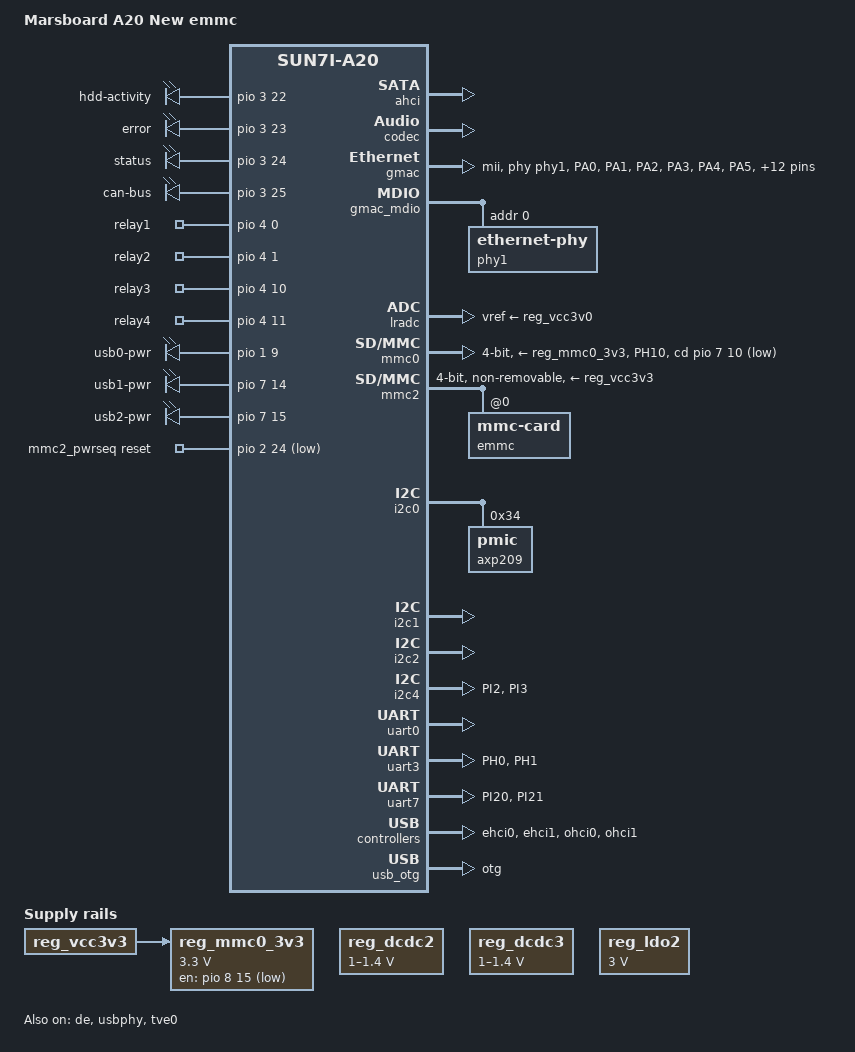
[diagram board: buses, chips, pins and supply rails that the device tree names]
/*
 * Copyright 2014 Hans de Goede <hdegoede@redhat.com>
 *
 * Hans de Goede <hdegoede@redhat.com>
 *
 * This file is dual-licensed: you can use it either under the terms
 * of the GPL or the X11 license, at your option. Note that this dual
 * licensing only applies to this file, and not this project as a
 * whole.
 *
 *  a) This file is free software; you can redistribute it and/or
 *     modify it under the terms of the GNU General Public License as
 *     published by the Free Software Foundation; either version 2 of the
 *     License, or (at your option) any later version.
 *
 *     This file is distributed in the hope that it will be useful,
 *     but WITHOUT ANY WARRANTY; without even the implied warranty of
 *     MERCHANTABILITY or FITNESS FOR A PARTICULAR PURPOSE.  See the
 *     GNU General Public License for more details.
 *
 * Or, alternatively,
 *
 *  b) Permission is hereby granted, free of charge, to any person
 *     obtaining a copy of this software and associated documentation
 *     files (the "Software"), to deal in the Software without
 *     restriction, including without limitation the rights to use,
 *     copy, modify, merge, publish, distribute, sublicense, and/or
 *     sell copies of the Software, and to permit persons to whom the
 *     Software is furnished to do so, subject to the following
 *     conditions:
 *
 *     The above copyright notice and this permission notice shall be
 *     included in all copies or substantial portions of the Software.
 *
 *     THE SOFTWARE IS PROVIDED "AS IS", WITHOUT WARRANTY OF ANY KIND,
 *     EXPRESS OR IMPLIED, INCLUDING BUT NOT LIMITED TO THE WARRANTIES
 *     OF MERCHANTABILITY, FITNESS FOR A PARTICULAR PURPOSE AND
 *     NONINFRINGEMENT. IN NO EVENT SHALL THE AUTHORS OR COPYRIGHT
 *     HOLDERS BE LIABLE FOR ANY CLAIM, DAMAGES OR OTHER LIABILITY,
 *     WHETHER IN AN ACTION OF CONTRACT, TORT OR OTHERWISE, ARISING
 *     FROM, OUT OF OR IN CONNECTION WITH THE SOFTWARE OR THE USE OR
 *     OTHER DEALINGS IN THE SOFTWARE.
 */

/dts-v1/;
#include "sun7i-a20-work.dtsi"
#include "sunxi-common-regulators.dtsi"

#include <dt-bindings/gpio/gpio.h>
#include <dt-bindings/input/input.h>
#include <dt-bindings/interrupt-controller/irq.h>

/ {
	model = "Marsboard A20 New emmc";
	compatible = "haoyu,a20-marsboard-new-emmc", "allwinner,sun7i-a20";

	aliases {
		i2c4 = "/soc@01c00000/i2c@01c2c000";
		serial3 = "/soc@01c00000/serial@01c28c00";
		serial7 = "/soc@01c00000/serial@01c29c00";

		serial0 = &uart0;
		serial1 = &uart3;
		serial2 = &uart7;
	};

	chosen {
		stdout-path = "serial0:115200n8";		
	};

/*	tv: connector {
		compatible = "composite-video-connector";
		label = "tv";

		port {
			tv_connector_in: endpoint {
				remote-endpoint = <&tve0_out_con>;
			};
		};
	};
*/


	tve0: tv-encoder@1c0a000 {
		compatible = "allwinner,sun4i-a10-tv-encoder";
		reg = <0x01c0a000 0x1000>;
		clocks = <&ccu CLK_AHB_TVE0>, <&ccu CLK_DRAM_TVE0>;
		clock-names = "ahb", "ram";
		resets = <&ccu RST_TVE0>;
		status = "okay";
		port {
			#address-cells = <1>;
			#size-cells = <0>;
			
			hdmi_in_tcon0: endpoint@0 {
				reg = <0>;
				remote-endpoint = <&tcon0_out_hdmi>;
			};
			hdmi_in_tcon1: endpoint@1 {
				reg = <1>;
				remote-endpoint = <&tcon1_out_hdmi>;
			};
		};
	};

/*	tve1: tv-encoder@1c1b000 {
		compatible = "allwinner,sun4i-a10-tv-encoder";
		reg = <0x01c1b000 0x1000>;
		clocks = <&ccu CLK_AHB_TVE1>, <&ccu CLK_DRAM_TVE1>;
		clock-names = "ahb", "ram";
		resets = <&ccu RST_TVE1>;
		status = "okay";

		port {
			#address-cells = <1>;
			#size-cells = <0>;

			hdmi_in_tcon1: endpoint@0 {
				reg = <0>;
				remote-endpoint = <&tcon1_out_hdmi>;
			};
		};
	};    */

	tvd: tv-decoder@1c08000 {
		compatible = "allwinner,sun4i-a10-tv-decoder";
		reg = <0x01c08000 0x1000>;
		clocks = <&ccu CLK_AHB_TVD>, <&ccu CLK_TVD>,
			<&ccu CLK_TVD_SCLK2>, <&ccu CLK_DRAM_TVD>,
			<&ccu CLK_PLL_VIDEO0>, <&ccu CLK_PLL_VIDEO1>;
		clock-names = "ahb", "sclk1",
			"sclk2", "ram",
			"pll0", "pll1";
		interrupts = <GIC_SPI 61 IRQ_TYPE_LEVEL_HIGH>;
	};


/*
	hdmi-connector {
		compatible = "hdmi-connector";
		type = "a";

		port {
			hdmi_con_in: endpoint {
				remote-endpoint = <&hdmi_out_con>;
			};
		};
	};   */

	leds {
		compatible = "gpio-leds";
		pinctrl-names = "default";
		pinctrl-0 = <&led_pins_vt900v2>;

		hdd {
			label = "hdd-activity";
			gpios = <&pio 3 22 GPIO_ACTIVE_HIGH>; /* PD22 */
			linux,default-trigger = "disk-activity";
		};

		err {
			label = "error";
			gpios = <&pio 3 23 GPIO_ACTIVE_HIGH>; /* PD23 */
		};

		status {
			label = "status";
			gpios = <&pio 3 24 GPIO_ACTIVE_HIGH>; /* PD24 */
			default-state = "on";
			linux,default-trigger = "heartbeat";
		};

		can-bus {
			label = "can-bus";
			gpios = <&pio 3 25 GPIO_ACTIVE_HIGH>; /* PD25 */
		};

		relay1 {
			label = "relay1";
			gpios = <&pio 4 0 GPIO_ACTIVE_HIGH>; /* PE0 */
		};
		relay2 {
			label = "relay2";
			gpios = <&pio 4 1 GPIO_ACTIVE_HIGH>; /* PE1 */
		};
		relay3 {
			label = "relay3";
			gpios = <&pio 4 10 GPIO_ACTIVE_HIGH>; /* PE10 */
		};
		relay4 {
			label = "relay4";
			gpios = <&pio 4 11 GPIO_ACTIVE_HIGH>; /* PE11 */
		};

		usb0-pwr {
			label = "usb0-pwr";  /* usb 0 (OTG) */
			gpios = <&pio 1 9 GPIO_ACTIVE_HIGH>;   /* PB9 */
			default-state = "on";
		};
		usb1-pwr {
			label = "usb1-pwr";  /* usb 1 */
			gpios = <&pio 7 14 GPIO_ACTIVE_HIGH>;   /* PH14 */  
			default-state = "on";
		};
		usb2-pwr {
			label = "usb2-pwr";  /* internal lte modem */
			gpios = <&pio 7 15 GPIO_ACTIVE_HIGH>; /* PH15 */
			default-state = "off";
		};
	};

	reg_mmc0_3v3: mmc0-3v3 {
		status = "okay";
		compatible = "regulator-fixed";
		pinctrl-names = "default";
		pinctrl-0 = <&mmc0_power_pin_vt900v2>;
		regulator-name = "mmc0-3v3-pwr";
		vin-supply = <&reg_vcc3v3>;
		regulator-min-microvolt = <3300000>;
		regulator-max-microvolt = <3300000>;
		startup-delay-us = <100000>;
		regulator-always-on;
		/*regulator-boot-on; */
		gpio = <&pio 8 15 GPIO_ACTIVE_HIGH>; /* PI15 */
	};

	mmc2_pwrseq: mmc2-pwrseq {
		compatible = "mmc-pwrseq-emmc";
		reset-gpios = <&pio 2 24 GPIO_ACTIVE_LOW>;  /* PC24 */
	};
};


&de {
	status = "okay";
	/* allwinner,pipelines = <&fe0>; */
};


/* &hdmi {
	status = "okay";
};
&hdmi_out {
	hdmi_out_con: endpoint {
		remote-endpoint = <&hdmi_con_in>;
	};
};  */



&ahci {
	status = "okay";
};

&codec {
	status = "okay";
};

&cpu0 {
	cpu-supply = <&reg_dcdc2>;
};



&gmac {
	pinctrl-names = "default";
	pinctrl-0 = <&gmac_pins_mii_17>;
	phy-handle = <&phy1>;
	phy-mode = "mii";
	status = "okay";
};

&gmac_mdio {
	phy1: ethernet-phy@0 {
		reg = <0>;
		max-speed = <100>;
	};
};



&lradc {
	vref-supply = <&reg_vcc3v0>;
	status = "okay";

	button-392 {
		label = "Unmount";
		linux,code = <KEY_VOLUMEDOWN>;
		channel = <0>;
		voltage = <392644>;
	};

	button-1184 {
		label = "Recover";
		linux,code = <KEY_ESC>;
		channel = <0>;
		voltage = <1184678>;
	};
};


&mmc0 {
	pinctrl-names = "default";
	pinctrl-0 = <&mmc0_pins>, <&mmc0_cd_pin_bananapi>;
	vmmc-supply = <&reg_mmc0_3v3>;
	bus-width = <4>;
	cd-gpios = <&pio 7 10 GPIO_ACTIVE_HIGH>; /* PH10 */
	cd-inverted;
	no-1-8-v;
	max-frequency = <25000000>;
	status = "okay";
};

&mmc2 {
	vmmc-supply = <&reg_vcc3v3>;
	mmc-pwrseq = <&mmc2_pwrseq>;
	bus-width = <4>;
	non-removable;
	/*max-frequency = <25000000>;*/
	status = "okay";

	emmc: emmc@0 {
		reg = <0>;
		compatible = "mmc-card";
		broken-hpi;
	};
};



&pio {
	vcc-pa-supply = <&reg_vcc3v3>;
	vcc-pb-supply = <&reg_vcc3v3>;
	vcc-pc-supply = <&reg_vcc3v3>;
	vcc-pd-supply = <&reg_vcc3v3>;
	vcc-pe-supply = <&reg_vcc3v3>;
	vcc-pf-supply = <&reg_vcc3v3>;
	vcc-pg-supply = <&reg_vcc3v3>;
	vcc-ph-supply = <&reg_vcc3v3>;
	vcc-pi-supply = <&reg_vcc3v3>;

	i2c4_pins_vt900v2: i2c4@0 {
		allwinner,pins = "PI2", "PI3";
		allwinner,function = "i2c4";
	};
	uart3_pins_vt900v2: uart3@1 {
		allwinner,pins = "PH0", "PH1";
		allwinner,function = "uart3";
	};
	uart7_pins_vt900v2: uart7@0 {
		allwinner,pins = "PI20", "PI21";
		allwinner,function = "uart7";
	};

	led_pins_vt900v2: led_pins@0 {
		allwinner,pins = "PD22", "PD23", "PD24", "PD25",
			"PE0", "PE1", "PE10", "PE11",
			"PB9", "PH14", "PH15";
		/*usb0-PB9, usb1-PH14, usb2-PH15*/
		allwinner,function = "gpio_out";
	};
	
	usb0_id_detect_pin_vt900v2: usb0_id_detect_pin_vt900v2@0 {
		allwinner,pins = "PH11";
		allwinner,function = "gpio_in";
		bias-pull-up;
	};
	usb0_vbus_detect_pin_vt900v2: usb0_vbus_detect_pin_vt900v2@0 {
		allwinner,pins = "PH13";
		allwinner,function = "gpio_in";
		bias-pull-down;
	};

	mmc0_cd_pin_bananapi: mmc0_cd_pin@0 {
		allwinner,pins = "PH10";
		allwinner,function = "gpio_in";
		bias-pull-up;
	};
	mmc0_power_pin_vt900v2: mmc0_power_pin@0 {
		allwinner,pins = "PI15";
		allwinner,function = "gpio_out";
		drive-strength = <20>;
	};

	gmac_pins_mii_17: gmac_mii_17@0 {
		allwinner,pins = "PA0", "PA1", "PA2",
		       "PA3", "PA4", "PA5", "PA6",
		       "PA7", "PA8", "PA9", "PA10",
		       "PA11", "PA12", "PA13", "PA14",
		       "PA15", "PA16", "PA17";
		allwinner,function = "gmac";
	};
};

&i2c0 {
	pinctrl-names = "default";
	pinctrl-0 = <&i2c0_pins>;
	status = "okay";

	axp209: pmic@34 {
		reg = <0x34>;
		interrupt-parent = <&nmi_intc>;
		interrupts = <0 IRQ_TYPE_LEVEL_LOW>;
	};
};

&i2c1 {
	pinctrl-names = "default";
	pinctrl-0 = <&i2c1_pins>;
	status = "okay";
};

&i2c2 {
	status = "okay";
};

&i2c4 {
	pinctrl-names = "default";
	pinctrl-0 = <&i2c4_pins_vt900v2>;
	status = "okay";
};

#include "axp209.dtsi"

&ac_power_supply {
	status = "okay";
};

&reg_dcdc2 {
	regulator-always-on;
	regulator-min-microvolt = <1000000>;
	regulator-max-microvolt = <1400000>;
	regulator-name = "vdd-cpu";
};

&reg_dcdc3 {
	regulator-always-on;
	regulator-min-microvolt = <1000000>;
	regulator-max-microvolt = <1400000>;
	regulator-name = "vdd-int-dll";
};

&reg_ldo1 {
	regulator-name = "vdd-rtc";
};

&reg_ldo2 {
	regulator-always-on;
	regulator-min-microvolt = <3000000>;
	regulator-max-microvolt = <3000000>;
	regulator-name = "avcc";
};

&reg_vcc3v0 {
	status = "okay";
	regulator-always-on;
};

&reg_vcc3v3 {
	status = "okay";
	regulator-always-on;
};
&reg_vcc5v0 {
	status = "okay";
	regulator-always-on;
};


/*
&spi0 {
	pinctrl-names = "default";
	pinctrl-0 = <&spi0_pins_a>,
		    <&spi0_cs0_pins_a>,
		    <&spi0_cs1_pins_a>;
	status = "okay";
};
*/

&uart0 {
	pinctrl-names = "default";
	pinctrl-0 = <&uart0_pb_pins>;
	status = "okay";
};
&uart3 {
	pinctrl-names = "default";
	pinctrl-0 = <&uart3_pins_vt900v2>;
	status = "okay";
};
&uart7 {
	pinctrl-names = "default";
	pinctrl-0 = <&uart7_pins_vt900v2>;
	status = "okay";
};


&ehci0 {
	status = "okay";
};
&ehci1 {
	status = "okay";
};

&ohci0 {
	status = "okay";
};

&ohci1 {
	status = "okay";
};

&otg_sram {
	status = "okay";
};
&usb_otg {
	dr_mode = "otg"; /*peripheral|otg|host*/
	status = "okay";
};


&usbphy {
	pinctrl-names = "default";
	pinctrl-0 = <&usb0_id_detect_pin_vt900v2>, <&usb0_vbus_detect_pin_vt900v2>;

	usb0_id_det-gpio = <&pio 7 11 GPIO_ACTIVE_HIGH>;   /* PH11 */
	usb0_vbus_det-gpio = <&pio 7 13 GPIO_ACTIVE_HIGH>; /* PH13 */
	usb0_vbus-supply = <&reg_vcc5v0>;
	
	status = "okay";
};



